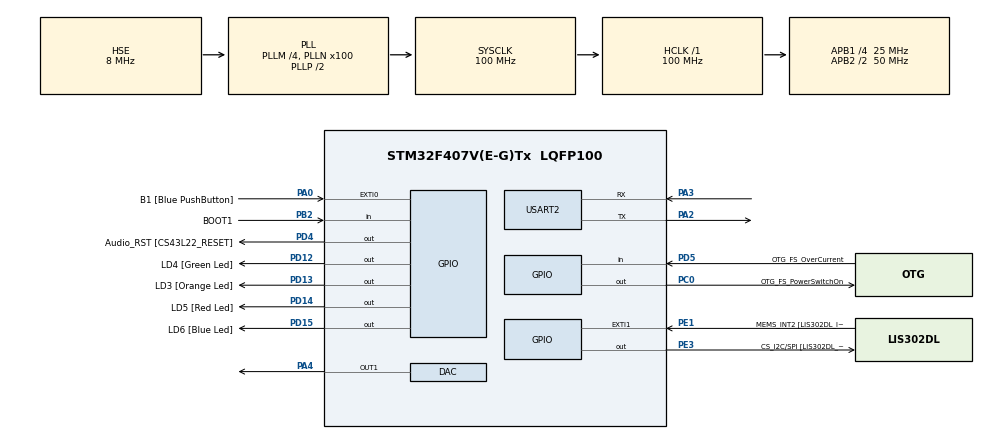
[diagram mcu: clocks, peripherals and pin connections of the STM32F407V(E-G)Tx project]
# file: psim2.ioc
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DAC.DAC_Trigger=DAC_TRIGGER_NONE
Mcu.Family=STM32F4
Mcu.Name=STM32F407V(E-G)Tx
Mcu.Package=LQFP100
NVIC.PriorityGroup=NVIC_PRIORITYGROUP_0
NVIC.TIM1_TRG_COM_TIM11_IRQn=true\:0\:0\:false\:false\:true
NVIC.TIM6_DAC_IRQn=true\:0\:0\:false\:false\:true
NVIC.USART2_IRQn=true\:0\:0\:false\:false\:true
PA0-WKUP.GPIO_Label=B1 [Blue PushButton]
PA0-WKUP.Signal=GPXTI0
PA10.GPIO_Label=OTG_FS_ID
PA10.GPIO_Mode=GPIO_MODE_AF_PP
PA10.GPIO_PuPd=GPIO_NOPULL
PA10.GPIO_Speed=GPIO_SPEED_FREQ_LOW
PA10.Signal=USB_OTG_FS_ID
PA11.GPIO_Label=OTG_FS_DM
PA11.GPIO_Mode=GPIO_MODE_AF_PP
PA11.GPIO_PuPd=GPIO_NOPULL
PA11.GPIO_Speed=GPIO_SPEED_FREQ_LOW
PA11.Signal=USB_OTG_FS_DM
PA12.GPIO_Label=OTG_FS_DP
PA12.GPIO_Mode=GPIO_MODE_AF_PP
PA12.GPIO_PuPd=GPIO_NOPULL
PA12.GPIO_Speed=GPIO_SPEED_FREQ_LOW
PA12.Signal=USB_OTG_FS_DP
PA13.GPIO_Label=SWDIO
PA13.Signal=SYS_JTMS-SWDIO
PA14.GPIO_Label=SWCLK
PA14.Signal=SYS_JTCK-SWCLK
PA2.Mode=Asynchronous
PA2.Signal=USART2_TX
PA3.Mode=Asynchronous
PA3.Signal=USART2_RX
PA4.Signal=COMP_DAC1_group
PA6.GPIO_Label=SPI1_MISO [LIS302DL_SDO]
PA6.GPIO_Mode=GPIO_MODE_AF_PP
PA6.GPIO_PuPd=GPIO_NOPULL
PA6.GPIO_Speed=GPIO_SPEED_FREQ_LOW
PA6.Signal=SPI1_MISO
PA7.GPIO_Label=SPI1_MOSI [LIS302DL_SDA/SDI/SDO]
PA7.GPIO_Mode=GPIO_MODE_AF_PP
PA7.GPIO_PuPd=GPIO_NOPULL
PA7.GPIO_Speed=GPIO_SPEED_FREQ_LOW
PA7.Signal=SPI1_MOSI
PA9.GPIO_Label=VBUS_FS
PA9.GPIO_Mode=GPIO_MODE_INPUT
PA9.GPIO_PuPd=GPIO_NOPULL
PA9.Signal=USB_OTG_FS_VBUS
PB10.GPIO_Label=CLK_IN [MP45DT02_CLK]
PB10.GPIO_Mode=GPIO_MODE_AF_PP
PB10.GPIO_PuPd=GPIO_NOPULL
PB10.GPIO_Speed=GPIO_SPEED_FREQ_LOW
PB10.Signal=I2S2_CK
PB2.GPIO_Label=BOOT1
PB2.GPIO_Mode=GPIO_MODE_INPUT
PB2.GPIO_PuPd=GPIO_NOPULL
PB2.Signal=GPIO_Input
PB3.GPIO_Label=SWO
PB3.Signal=SYS_JTDO-SWO
PB6.GPIO_Label=Audio_SCL [CS43L22_SCL]
PB6.GPIO_Mode=GPIO_MODE_AF_OD
PB6.GPIO_PuPd=GPIO_NOPULL
PB6.GPIO_Speed=GPIO_SPEED_FREQ_LOW
PB6.Signal=I2C1_SCL
PB9.GPIO_Label=Audio_SDA [CS43L22_SDA]
PB9.GPIO_Mode=GPIO_MODE_AF_OD
PB9.GPIO_PuPd=GPIO_NOPULL
PB9.GPIO_Speed=GPIO_SPEED_FREQ_LOW
PB9.Signal=I2C1_SDA
PC0.GPIO_Label=OTG_FS_PowerSwitchOn
PC0.GPIO_PuPd=GPIO_NOPULL
PC0.GPIO_Speed=GPIO_SPEED_FREQ_LOW
PC0.PinState=GPIO_PIN_SET
PC0.Signal=GPIO_Output
PC10.GPIO_Label=I2S3_SCK [CS43L22_SCLK]
PC10.GPIO_Mode=GPIO_MODE_AF_PP
PC10.GPIO_PuPd=GPIO_NOPULL
PC10.GPIO_Speed=GPIO_SPEED_FREQ_LOW
PC10.Signal=I2S3_CK
PC12.GPIO_Label=I2S3_SD [CS43L22_SDIN]
PC12.GPIO_Mode=GPIO_MODE_AF_PP
PC12.GPIO_PuPd=GPIO_NOPULL
PC12.GPIO_Speed=GPIO_SPEED_FREQ_LOW
PC12.Signal=I2S3_SD
PC14-OSC32_IN.GPIO_Label=PC14-OSC32_IN
PC14-OSC32_IN.Signal=RCC_OSC32_IN
PC15-OSC32_OUT.GPIO_Label=PC15-OSC32_OUT
PC15-OSC32_OUT.Signal=RCC_OSC32_OUT
PC3.GPIO_Label=PDM_OUT [MP45DT02_DOUT]
PC3.GPIO_Mode=GPIO_MODE_AF_PP
PC3.GPIO_PuPd=GPIO_NOPULL
PC3.GPIO_Speed=GPIO_SPEED_FREQ_LOW
PC3.Signal=I2S2_SD
PC7.GPIO_Label=I2S3_MCK [CS43L22_MCLK]
PC7.GPIO_Mode=GPIO_MODE_AF_PP
PC7.GPIO_PuPd=GPIO_NOPULL
PC7.GPIO_Speed=GPIO_SPEED_FREQ_LOW
PC7.Signal=I2S3_MCK
PD12.GPIO_Label=LD4 [Green Led]
PD12.GPIO_PuPd=GPIO_NOPULL
PD12.GPIO_Speed=GPIO_SPEED_FREQ_LOW
PD12.Signal=GPIO_Output
PD13.GPIO_Label=LD3 [Orange Led]
PD13.GPIO_PuPd=GPIO_NOPULL
PD13.GPIO_Speed=GPIO_SPEED_FREQ_LOW
PD13.Signal=GPIO_Output
PD14.GPIO_Label=LD5 [Red Led]
PD14.GPIO_PuPd=GPIO_NOPULL
PD14.GPIO_Speed=GPIO_SPEED_FREQ_LOW
PD14.Signal=GPIO_Output
PD15.GPIO_Label=LD6 [Blue Led]
PD15.GPIO_PuPd=GPIO_NOPULL
PD15.GPIO_Speed=GPIO_SPEED_FREQ_LOW
PD15.Signal=GPIO_Output
PD4.GPIO_Label=Audio_RST [CS43L22_RESET]
PD4.GPIO_PuPd=GPIO_NOPULL
PD4.GPIO_Speed=GPIO_SPEED_FREQ_LOW
PD4.Signal=GPIO_Output
PD5.GPIO_Label=OTG_FS_OverCurrent
PD5.GPIO_Mode=GPIO_MODE_INPUT
PD5.GPIO_PuPd=GPIO_NOPULL
PD5.Signal=GPIO_Input
PE1.GPIO_Label=MEMS_INT2 [LIS302DL_INT2]
PE1.GPIO_ModeDefaultEXTI=GPIO_MODE_EVT_RISING
PE1.GPIO_PuPd=GPIO_NOPULL
PE1.Signal=GPXTI1
PE3.GPIO_Label=CS_I2C/SPI [LIS302DL_CS_I2C/SPI]
PE3.GPIO_PuPd=GPIO_NOPULL
PE3.GPIO_Speed=GPIO_SPEED_FREQ_LOW
PE3.Signal=GPIO_Output
PH0-OSC_IN.GPIO_Label=PH0-OSC_IN
PH0-OSC_IN.Mode=HSE-External-Oscillator
PH0-OSC_IN.Signal=RCC_OSC_IN
PH1-OSC_OUT.GPIO_Label=PH1-OSC_OUT
PH1-OSC_OUT.Mode=HSE-External-Oscillator
PH1-OSC_OUT.Signal=RCC_OSC_OUT
ProjectManager.HeapSize=0x200
ProjectManager.StackSize=0x400
ProjectManager.TargetToolchain=SW4STM32
RCC.48MHZClocksFreq_Value=28571428.57142857
RCC.AHBFreq_Value=100000000
RCC.APB1CLKDivider=RCC_HCLK_DIV4
RCC.APB1Freq_Value=25000000
RCC.APB1TimFreq_Value=50000000
RCC.APB2CLKDivider=RCC_HCLK_DIV2
RCC.APB2Freq_Value=50000000
RCC.APB2TimFreq_Value=100000000
RCC.CortexFreq_Value=100000000
RCC.HCLKFreq_Value=100000000
RCC.HSE_VALUE=8000000
RCC.HSI_VALUE=16000000
RCC.LSE_VALUE=32768
RCC.PLLM=4
RCC.PLLN=100
RCC.PLLQ=7
RCC.PLLSourceVirtual=RCC_PLLSOURCE_HSE
RCC.SYSCLKFreq_VALUE=100000000
RCC.SYSCLKSource=RCC_SYSCLKSOURCE_PLLCLK
RCC.VCOOutputFreq_Value=200000000
SH.COMP_DAC1_group.0=DAC_OUT1,DAC_OUT1
TIM11.Channel=TIM_CHANNEL_1
TIM11.Period=9
TIM11.Prescaler=99
TIM6.Period=999
TIM6.Prescaler=9
USART2.VirtualMode=VM_ASYNC
VP_TIM11_VS_ClockSourceINT.Mode=Enable_Timer
VP_TIM11_VS_no_output1.Mode=Output Compare1 No Output
VP_TIM6_VS_ClockSourceINT.Mode=Enable_Timer
board=STM32F4DISCOVERY

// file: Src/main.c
/**
  ******************************************************************************
  * File Name          : main.c
  * Description        : Main program body
  ******************************************************************************
  ** This notice applies to any and all portions of this file
  * that are not between comment pairs USER CODE BEGIN and
  * USER CODE END. Other portions of this file, whether
  * inserted by the user or by software development tools
  * are owned by their respective copyright owners.
  *
  * COPYRIGHT(c) 2017 STMicroelectronics
  *
  * Redistribution and use in source and binary forms, with or without modification,
  * are permitted provided that the following conditions are met:
  *   1. Redistributions of source code must retain the above copyright notice,
  *      this list of conditions and the following disclaimer.
  *   2. Redistributions in binary form must reproduce the above copyright notice,
  *      this list of conditions and the following disclaimer in the documentation
  *      and/or other materials provided with the distribution.
  *   3. Neither the name of STMicroelectronics nor the names of its contributors
  *      may be used to endorse or promote products derived from this software
  *      without specific prior written permission.
  *
  * THIS SOFTWARE IS PROVIDED BY THE COPYRIGHT HOLDERS AND CONTRIBUTORS "AS IS"
  * AND ANY EXPRESS OR IMPLIED WARRANTIES, INCLUDING, BUT NOT LIMITED TO, THE
  * IMPLIED WARRANTIES OF MERCHANTABILITY AND FITNESS FOR A PARTICULAR PURPOSE ARE
  * DISCLAIMED. IN NO EVENT SHALL THE COPYRIGHT HOLDER OR CONTRIBUTORS BE LIABLE
  * FOR ANY DIRECT, INDIRECT, INCIDENTAL, SPECIAL, EXEMPLARY, OR CONSEQUENTIAL
  * DAMAGES (INCLUDING, BUT NOT LIMITED TO, PROCUREMENT OF SUBSTITUTE GOODS OR
  * SERVICES; LOSS OF USE, DATA, OR PROFITS; OR BUSINESS INTERRUPTION) HOWEVER
  * CAUSED AND ON ANY THEORY OF LIABILITY, WHETHER IN CONTRACT, STRICT LIABILITY,
  * OR TORT (INCLUDING NEGLIGENCE OR OTHERWISE) ARISING IN ANY WAY OUT OF THE USE
  * OF THIS SOFTWARE, EVEN IF ADVISED OF THE POSSIBILITY OF SUCH DAMAGE.
  *
  ******************************************************************************
  */
#include "main.h"
#include "stm32f4xx_hal.h"

/* USER CODE BEGIN Includes */
#include "stdlib.h"

#define ReceivedTabSize 2000
/* USER CODE END Includes */

DAC_HandleTypeDef hdac;

TIM_HandleTypeDef htim6;
TIM_HandleTypeDef htim11;

UART_HandleTypeDef huart2;

/* USER CODE BEGIN PV */
/* Private variables ---------------------------------------------------------*/
volatile int MAX = 0;
const float tp = 0.00001;

volatile int *freqTab = NULL;
volatile int *ampTab = NULL;
volatile int *phaseTab = NULL;
volatile int *freqTabRT = NULL;
volatile int *ampTabRT = NULL;
volatile int *phaseTabRT = NULL;
volatile int *freqTabTemp = NULL;
volatile int *ampTabTemp = NULL;
volatile int *phaseTabTemp = NULL;

volatile float out = 0;
volatile int licznik;

int r_size = 1;
volatile int output = 0;
volatile float cos;
volatile float wsp_a;
volatile float wsp_b;

volatile int vv;
volatile int bb;
volatile int aa;

int blad=0;

volatile int freq = 0;
volatile int Received;
volatile int ReceivedTab[ReceivedTabSize];

const float cosTable[360] = {
  -0.999847695156391270f, -0.999390827019095760f, -0.998629534754573830f,
  -0.997564050259824200f, -0.996194698091745550f, -0.994521895368273290f,
  -0.992546151641321980f, -0.990268068741570250f,
  -0.987688340595137660f, -0.984807753012208020f, -0.981627183447663980f,
  -0.978147600733805690f, -0.974370064785235250f, -0.970295726275996470f,
  -0.965925826289068200f, -0.961261695938318670f,
  -0.956304755963035440f, -0.951056516295153530f, -0.945518575599316740f,
  -0.939692620785908320f, -0.933580426497201740f, -0.927183854566787310f,
  -0.920504853452440150f, -0.913545457642600760f,
  -0.906307787036649940f, -0.898794046299167040f, -0.891006524188367790f,
  -0.882947592858926770f, -0.874619707139395740f, -0.866025403784438710f,
  -0.857167300702112220f, -0.848048096156425960f,
  -0.838670567945424160f, -0.829037572555041620f, -0.819152044288991580f,
  -0.809016994374947340f, -0.798635510047292940f, -0.788010753606721900f,
  -0.777145961456970680f, -0.766044443118977900f,
  -0.754709580222772010f, -0.743144825477394130f, -0.731353701619170460f,
  -0.719339800338651300f, -0.707106781186547460f, -0.694658370458997030f,
  -0.681998360062498370f, -0.669130606358858240f,
  -0.656059028990507500f, -0.642787609686539360f, -0.629320391049837280f,
  -0.615661475325658290f, -0.601815023152048380f, -0.587785252292473030f,
  -0.573576436351045830f, -0.559192903470746680f,
  -0.544639035015027080f, -0.529919264233204790f, -0.515038074910054270f,
  -0.499999999999999780f, -0.484809620246337000f, -0.469471562785890530f,
  -0.453990499739546750f, -0.438371146789077510f,
  -0.422618261740699330f, -0.406736643075800100f, -0.390731128489273600f,
  -0.374606593415912070f, -0.358367949545300270f, -0.342020143325668710f,
  -0.325568154457156420f, -0.309016994374947340f,
  -0.292371704722736660f, -0.275637355816999050f, -0.258819045102520850f,
  -0.241921895599667790f, -0.224951054343864810f, -0.207911690817759120f,
  -0.190808995376544800f, -0.173648177666930300f,
  -0.156434465040231040f, -0.139173100960065350f, -0.121869343405147370f,
  -0.104528463267653330f, -0.087155742747658235f, -0.069756473744125330f,
  -0.052335956242943620f, -0.034899496702500733f,
  -0.017452406437283477f, 0.000000000000000061f, 0.017452406437283376f,
  0.034899496702501080f, 0.052335956242943966f, 0.069756473744125455f,
  0.087155742747658138f, 0.104528463267653460f,
  0.121869343405147490f, 0.139173100960065690f, 0.156434465040230920f,
  0.173648177666930410f, 0.190808995376544920f, 0.207911690817759450f,
  0.224951054343864920f, 0.241921895599667900f,
  0.258819045102520740f, 0.275637355816999160f, 0.292371704722736770f,
  0.309016994374947450f, 0.325568154457156760f, 0.342020143325668820f,
  0.358367949545300380f, 0.374606593415911960f,
  0.390731128489273940f, 0.406736643075800210f, 0.422618261740699440f,
  0.438371146789077460f, 0.453990499739546860f, 0.469471562785890860f,
  0.484809620246337110f, 0.500000000000000110f,
  0.515038074910054380f, 0.529919264233204900f, 0.544639035015027200f,
  0.559192903470746790f, 0.573576436351046050f, 0.587785252292473140f,
  0.601815023152048270f, 0.615661475325658290f,
  0.629320391049837500f, 0.642787609686539360f, 0.656059028990507280f,
  0.669130606358858240f, 0.681998360062498480f, 0.694658370458997370f,
  0.707106781186547570f, 0.719339800338651190f,
  0.731353701619170570f, 0.743144825477394240f, 0.754709580222772010f,
  0.766044443118978010f, 0.777145961456970900f, 0.788010753606722010f,
  0.798635510047292830f, 0.809016994374947450f,
  0.819152044288991800f, 0.829037572555041620f, 0.838670567945424050f,
  0.848048096156425960f, 0.857167300702112330f, 0.866025403784438710f,
  0.874619707139395740f, 0.882947592858926990f,
  0.891006524188367900f, 0.898794046299167040f, 0.906307787036649940f,
  0.913545457642600870f, 0.920504853452440370f, 0.927183854566787420f,
  0.933580426497201740f, 0.939692620785908430f,
  0.945518575599316850f, 0.951056516295153530f, 0.956304755963035440f,
  0.961261695938318890f, 0.965925826289068310f, 0.970295726275996470f,
  0.974370064785235250f, 0.978147600733805690f,
  0.981627183447663980f, 0.984807753012208020f, 0.987688340595137770f,
  0.990268068741570360f, 0.992546151641321980f, 0.994521895368273290f,
  0.996194698091745550f, 0.997564050259824200f,
  0.998629534754573830f, 0.999390827019095760f, 0.999847695156391270f,
  1.000000000000000000f, 0.999847695156391270f, 0.999390827019095760f,
  0.998629534754573830f, 0.997564050259824200f,
  0.996194698091745550f, 0.994521895368273290f, 0.992546151641321980f,
  0.990268068741570360f, 0.987688340595137770f, 0.984807753012208020f,
  0.981627183447663980f, 0.978147600733805690f,
  0.974370064785235250f, 0.970295726275996470f, 0.965925826289068310f,
  0.961261695938318890f, 0.956304755963035440f, 0.951056516295153530f,
  0.945518575599316850f, 0.939692620785908430f,
  0.933580426497201740f, 0.927183854566787420f, 0.920504853452440370f,
  0.913545457642600870f, 0.906307787036649940f, 0.898794046299167040f,
  0.891006524188367900f, 0.882947592858926990f,
  0.874619707139395740f, 0.866025403784438710f, 0.857167300702112330f,
  0.848048096156425960f, 0.838670567945424050f, 0.829037572555041620f,
  0.819152044288991800f, 0.809016994374947450f,
  0.798635510047292830f, 0.788010753606722010f, 0.777145961456970900f,
  0.766044443118978010f, 0.754709580222772010f, 0.743144825477394240f,
  0.731353701619170570f, 0.719339800338651190f,
  0.707106781186547570f, 0.694658370458997370f, 0.681998360062498480f,
  0.669130606358858240f, 0.656059028990507280f, 0.642787609686539360f,
  0.629320391049837500f, 0.615661475325658290f,
  0.601815023152048270f, 0.587785252292473140f, 0.573576436351046050f,
  0.559192903470746790f, 0.544639035015027200f, 0.529919264233204900f,
  0.515038074910054380f, 0.500000000000000110f,
  0.484809620246337110f, 0.469471562785890860f, 0.453990499739546860f,
  0.438371146789077460f, 0.422618261740699440f, 0.406736643075800210f,
  0.390731128489273940f, 0.374606593415911960f,
  0.358367949545300380f, 0.342020143325668820f, 0.325568154457156760f,
  0.309016994374947450f, 0.292371704722736770f, 0.275637355816999160f,
  0.258819045102520740f, 0.241921895599667900f,
  0.224951054343864920f, 0.207911690817759450f, 0.190808995376544920f,
  0.173648177666930410f, 0.156434465040230920f, 0.139173100960065690f,
  0.121869343405147490f, 0.104528463267653460f,
  0.087155742747658138f, 0.069756473744125455f, 0.052335956242943966f,
  0.034899496702501080f, 0.017452406437283376f, 0.000000000000000061f,
  -0.017452406437283477f, -0.034899496702500733f,
  -0.052335956242943620f, -0.069756473744125330f, -0.087155742747658235f,
  -0.104528463267653330f, -0.121869343405147370f, -0.139173100960065350f,
  -0.156434465040231040f, -0.173648177666930300f,
  -0.190808995376544800f, -0.207911690817759120f, -0.224951054343864810f,
  -0.241921895599667790f, -0.258819045102520850f, -0.275637355816999050f,
  -0.292371704722736660f, -0.309016994374947340f,
  -0.325568154457156420f, -0.342020143325668710f, -0.358367949545300270f,
  -0.374606593415912070f, -0.390731128489273600f, -0.406736643075800100f,
  -0.422618261740699330f, -0.438371146789077510f,
  -0.453990499739546750f, -0.469471562785890530f, -0.484809620246337000f,
  -0.499999999999999780f, -0.515038074910054270f, -0.529919264233204790f,
  -0.544639035015027080f, -0.559192903470746680f,
  -0.573576436351045830f, -0.587785252292473030f, -0.601815023152048380f,
  -0.615661475325658290f, -0.629320391049837280f, -0.642787609686539360f,
  -0.656059028990507500f, -0.669130606358858240f,
  -0.681998360062498370f, -0.694658370458997030f, -0.707106781186547460f,
  -0.719339800338651300f, -0.731353701619170460f, -0.743144825477394130f,
  -0.754709580222772010f, -0.766044443118977900f,
  -0.777145961456970680f, -0.788010753606721900f, -0.798635510047292940f,
  -0.809016994374947340f, -0.819152044288991580f, -0.829037572555041620f,
  -0.838670567945424160f, -0.848048096156425960f,
  -0.857167300702112220f, -0.866025403784438710f, -0.874619707139395740f,
  -0.882947592858926770f, -0.891006524188367790f, -0.898794046299167040f,
  -0.906307787036649940f, -0.913545457642600760f,
  -0.920504853452440150f, -0.927183854566787310f, -0.933580426497201740f,
  -0.939692620785908320f, -0.945518575599316740f, -0.951056516295153530f,
  -0.956304755963035440f, -0.961261695938318670f,
  -0.965925826289068200f, -0.970295726275996470f, -0.974370064785235250f,
  -0.978147600733805690f, -0.981627183447663980f, -0.984807753012208020f,
  -0.987688340595137660f, -0.990268068741570250f,
  -0.992546151641321980f, -0.994521895368273290f, -0.996194698091745550f,
  -0.997564050259824200f, -0.998629534754573830f, -0.999390827019095760f,
  -0.999847695156391270f, -1.000000000000000000f
};

inline float cosApproximation(float v)
{
	float value = 0;

	uint16_t a = ((int) v) % 360;
	uint16_t b = (a + 1) % 360;

	float cos_a = cosTable[a];
	float cos_b = cosTable[b];
	wsp_a = cos_b - cos_a;
//	float wsp_a = cos_b - cos_a;
//	float wsp_b = cos_a - wsp_a * a;
	wsp_b = cos_a - wsp_a * a;

	value = wsp_a * (v - (int)(v) + a) + wsp_b;

		aa = a;
		bb = b;

	return value;
}

/* USER CODE END PV */

void SystemClock_Config(void);
static void MX_GPIO_Init(void);
static void MX_USART2_UART_Init(void);
static void MX_TIM11_Init(void);
static void MX_DAC_Init(void);
static void MX_TIM6_Init(void);

/* USER CODE BEGIN PFP */
/* Private function prototypes -----------------------------------------------*/

/* USER CODE END PFP */

/* USER CODE BEGIN 0 */

void HAL_TIM_PeriodElapsedCallback(TIM_HandleTypeDef *htim)
{
	static long long int t = 0;
	int index = 0;
	float v;

	 if(htim->Instance == TIM11){

		 HAL_DAC_SetValue(&hdac,DAC_CHANNEL_1,DAC_ALIGN_12B_R,output);
//		 if(sample_iter == -1)
//		 {
//			 return;
//		 }
		 out = 0;
		 t=t+1;
		 for (int ii=0;ii<MAX;ii++)
		 {
			 v = 360 * tp * freqTab[ii]*t + 180 - phaseTab[ii];
			 cos = cosApproximation(v);
//			 cos = cosTable[((int) v) % 360];
			 out = out + ampTab[ii]*cos;
		 }

	 // skalowanie amplitudy -50 do 50 na od 0 do 4095
	 output = (int)(out*40.96 + 2048);
	 }
}

int power(int a)
{
	int wynik = 1;
	for (int i=0;i<a;i++)
		wynik *= 10;
	return wynik;
}

void HAL_UART_RxCpltCallback(UART_HandleTypeDef *huart) {

	static int i=0;
	volatile static int sample_iter = -1;
	static int liczbaProbek = -1;
	volatile static int idTab = 0;
	uint8_t data[50];
	uint16_t size = 0;

	//HAL_GPIO_TogglePin(GPIOA, GPIO_PIN_6);

	if(Received == 9 || i==ReceivedTabSize) // zatwierdzenie liczby TABem
	{
		volatile int recNumber = 0;
		for (int k = 0;k < i;k++)
		{
			recNumber += power(i-k-1) * ReceivedTab[k];
		}
		i = 0;

		if(sample_iter == -1)
		{
			size = sprintf(data, "lp:\t %u \n\r", recNumber);
			HAL_UART_Transmit_IT(&huart2, data, size);
			liczbaProbek = recNumber;
			MAX = liczbaProbek;
			sample_iter = 0;
		}
		else
		{
//			size = sprintf(data, "echoProbki:\t %u \n\r", recNumber);
//			HAL_UART_Transmit_IT(&huart2, data, size);
			if(sample_iter%3 == 0) // freq
			{
				freqTabRT[idTab] =  recNumber;
				freq = recNumber;
			}
			else if(sample_iter%3 == 1) // amp
			{
				ampTabRT[idTab] = recNumber;
			}
			else if(sample_iter%3 == 2) // phase
			{
				phaseTabRT[idTab] = recNumber;
				idTab++;
			}
			sample_iter += 1;
			size = sprintf(data, "sampleIter:\t %d \n\r", sample_iter);
			HAL_UART_Transmit_IT(&huart2, data, size);
		}
		if(idTab == liczbaProbek)
		{
			freqTabTemp = freqTab;
			ampTabTemp = ampTab;
			phaseTabTemp = phaseTab;

			freqTab = freqTabRT;
			ampTab = ampTabRT;
			phaseTab = phaseTabRT;

			freqTabRT = freqTabTemp;
			ampTabRT = ampTabTemp;
			phaseTabRT = phaseTabTemp;

 			size = sprintf(data, "koniec \n\r");
			HAL_UART_Transmit_IT(&huart2, data, size);
			sample_iter = -1;
			idTab = 0;
		}

	}
	else
	{
			ReceivedTab[i] = atoi(&Received);
			vv = atoi(&Received);
			i++;
	}

	 HAL_UART_Receive_IT(&huart2, &Received, r_size);
}
/* USER CODE END 0 */

int main(void)
{

  /* MCU Configuration----------------------------------------------------------*/

  /* Reset of all peripherals, Initializes the Flash interface and the Systick. */
  HAL_Init();

  /* Configure the system clock */
  SystemClock_Config();

  /* Initialize all configured peripherals */
  MX_GPIO_Init();
  MX_USART2_UART_Init();
  MX_TIM11_Init();
  MX_DAC_Init();
  MX_TIM6_Init();

  /* USER CODE BEGIN 2 */

  HAL_TIM_Base_Start_IT(&htim11);
  HAL_TIM_Base_Start_IT(&htim6);
  HAL_DAC_Start(&hdac,DAC_CHANNEL_1);
  HAL_UART_Receive_IT(&huart2, &Received, r_size);

  freqTab = (int*) calloc (100, sizeof(int));
  ampTab = (int *) calloc (100, sizeof(int));
  phaseTab = (int *) calloc (100, sizeof(int));
  freqTabRT = (int *) calloc (100, sizeof(int));
  ampTabRT = (int *) calloc (100, sizeof(int));
  phaseTabRT = (int *) calloc (100, sizeof(int));

  uint8_t data[50];
	uint16_t size = 0;
	if(freqTab == NULL || ampTab == NULL || phaseTab == NULL) {
		blad = 1;
	}
	if(freqTabRT == NULL || ampTabRT == NULL || phaseTabRT == NULL) {
			blad = 2;
	}
  /* USER CODE END 2 */

  /* Infinite loop */
  while (1)
  {

 }

}

/** System Clock Configuration
*/
void SystemClock_Config(void)
{

  RCC_OscInitTypeDef RCC_OscInitStruct;
  RCC_ClkInitTypeDef RCC_ClkInitStruct;

    /**Configure the main internal regulator output voltage
    */
  __HAL_RCC_PWR_CLK_ENABLE();

  __HAL_PWR_VOLTAGESCALING_CONFIG(PWR_REGULATOR_VOLTAGE_SCALE1);

    /**Initializes the CPU, AHB and APB busses clocks
    */
  RCC_OscInitStruct.OscillatorType = RCC_OSCILLATORTYPE_HSE;
  RCC_OscInitStruct.HSEState = RCC_HSE_ON;
  RCC_OscInitStruct.PLL.PLLState = RCC_PLL_ON;
  RCC_OscInitStruct.PLL.PLLSource = RCC_PLLSOURCE_HSE;
  RCC_OscInitStruct.PLL.PLLM = 4;
  RCC_OscInitStruct.PLL.PLLN = 100;
  RCC_OscInitStruct.PLL.PLLP = RCC_PLLP_DIV2;
  RCC_OscInitStruct.PLL.PLLQ = 7;
  if (HAL_RCC_OscConfig(&RCC_OscInitStruct) != HAL_OK)
  {
    _Error_Handler(__FILE__, __LINE__);
  }

    /**Initializes the CPU, AHB and APB busses clocks
    */
  RCC_ClkInitStruct.ClockType = RCC_CLOCKTYPE_HCLK|RCC_CLOCKTYPE_SYSCLK
                              |RCC_CLOCKTYPE_PCLK1|RCC_CLOCKTYPE_PCLK2;
  RCC_ClkInitStruct.SYSCLKSource = RCC_SYSCLKSOURCE_PLLCLK;
  RCC_ClkInitStruct.AHBCLKDivider = RCC_SYSCLK_DIV1;
  RCC_ClkInitStruct.APB1CLKDivider = RCC_HCLK_DIV4;
  RCC_ClkInitStruct.APB2CLKDivider = RCC_HCLK_DIV2;

  if (HAL_RCC_ClockConfig(&RCC_ClkInitStruct, FLASH_LATENCY_3) != HAL_OK)
  {
    _Error_Handler(__FILE__, __LINE__);
  }

    /**Configure the Systick interrupt time
    */
  HAL_SYSTICK_Config(HAL_RCC_GetHCLKFreq()/1000);

    /**Configure the Systick
    */
  HAL_SYSTICK_CLKSourceConfig(SYSTICK_CLKSOURCE_HCLK);

  /* SysTick_IRQn interrupt configuration */
  HAL_NVIC_SetPriority(SysTick_IRQn, 0, 0);
}

/* DAC init function */
static void MX_DAC_Init(void)
{

  DAC_ChannelConfTypeDef sConfig;

    /**DAC Initialization
    */
  hdac.Instance = DAC;
  if (HAL_DAC_Init(&hdac) != HAL_OK)
  {
    _Error_Handler(__FILE__, __LINE__);
  }

    /**DAC channel OUT1 config
    */
  sConfig.DAC_Trigger = DAC_TRIGGER_NONE;
  sConfig.DAC_OutputBuffer = DAC_OUTPUTBUFFER_ENABLE;
  if (HAL_DAC_ConfigChannel(&hdac, &sConfig, DAC_CHANNEL_1) != HAL_OK)
  {
    _Error_Handler(__FILE__, __LINE__);
  }

}

/* TIM6 init function */
static void MX_TIM6_Init(void)
{

  TIM_MasterConfigTypeDef sMasterConfig;

  htim6.Instance = TIM6;
  htim6.Init.Prescaler = 9;
  htim6.Init.CounterMode = TIM_COUNTERMODE_UP;
  htim6.Init.Period = 999;
  if (HAL_TIM_Base_Init(&htim6) != HAL_OK)
  {
    _Error_Handler(__FILE__, __LINE__);
  }

  sMasterConfig.MasterOutputTrigger = TIM_TRGO_RESET;
  sMasterConfig.MasterSlaveMode = TIM_MASTERSLAVEMODE_DISABLE;
  if (HAL_TIMEx_MasterConfigSynchronization(&htim6, &sMasterConfig) != HAL_OK)
  {
    _Error_Handler(__FILE__, __LINE__);
  }

}

/* TIM11 init function */
static void MX_TIM11_Init(void)
{

  TIM_OC_InitTypeDef sConfigOC;

  htim11.Instance = TIM11;
  htim11.Init.Prescaler = 99;
  htim11.Init.CounterMode = TIM_COUNTERMODE_UP;
  htim11.Init.Period = 9;
  htim11.Init.ClockDivision = TIM_CLOCKDIVISION_DIV1;
  if (HAL_TIM_Base_Init(&htim11) != HAL_OK)
  {
    _Error_Handler(__FILE__, __LINE__);
  }

  if (HAL_TIM_OC_Init(&htim11) != HAL_OK)
  {
    _Error_Handler(__FILE__, __LINE__);
  }

  sConfigOC.OCMode = TIM_OCMODE_TIMING;
  sConfigOC.Pulse = 0;
  sConfigOC.OCPolarity = TIM_OCPOLARITY_HIGH;
  sConfigOC.OCFastMode = TIM_OCFAST_DISABLE;
  if (HAL_TIM_OC_ConfigChannel(&htim11, &sConfigOC, TIM_CHANNEL_1) != HAL_OK)
  {
    _Error_Handler(__FILE__, __LINE__);
  }

}

/* USART2 init function */
static void MX_USART2_UART_Init(void)
{

  huart2.Instance = USART2;
  huart2.Init.BaudRate = 115200;
  huart2.Init.WordLength = UART_WORDLENGTH_8B;
  huart2.Init.StopBits = UART_STOPBITS_1;
  huart2.Init.Parity = UART_PARITY_NONE;
  huart2.Init.Mode = UART_MODE_TX_RX;
  huart2.Init.HwFlowCtl = UART_HWCONTROL_NONE;
  huart2.Init.OverSampling = UART_OVERSAMPLING_16;
  if (HAL_UART_Init(&huart2) != HAL_OK)
  {
    _Error_Handler(__FILE__, __LINE__);
  }

}

/** Configure pins as
        * Analog
        * Input
        * Output
        * EVENT_OUT
        * EXTI
     PC3   ------> I2S2_SD
     PA6   ------> SPI1_MISO
     PA7   ------> SPI1_MOSI
     PB10   ------> I2S2_CK
     PC7   ------> I2S3_MCK
     PA9   ------> USB_OTG_FS_VBUS
     PA10   ------> USB_OTG_FS_ID
     PA11   ------> USB_OTG_FS_DM
     PA12   ------> USB_OTG_FS_DP
     PC10   ------> I2S3_CK
     PC12   ------> I2S3_SD
     PB6   ------> I2C1_SCL
     PB9   ------> I2C1_SDA
*/
static void MX_GPIO_Init(void)
{

  GPIO_InitTypeDef GPIO_InitStruct;

  /* GPIO Ports Clock Enable */
  __HAL_RCC_GPIOE_CLK_ENABLE();
  __HAL_RCC_GPIOC_CLK_ENABLE();
  __HAL_RCC_GPIOH_CLK_ENABLE();
  __HAL_RCC_GPIOA_CLK_ENABLE();
  __HAL_RCC_GPIOB_CLK_ENABLE();
  __HAL_RCC_GPIOD_CLK_ENABLE();

  /*Configure GPIO pin Output Level */
  HAL_GPIO_WritePin(CS_I2C_SPI_GPIO_Port, CS_I2C_SPI_Pin, GPIO_PIN_RESET);

  /*Configure GPIO pin Output Level */
  HAL_GPIO_WritePin(OTG_FS_PowerSwitchOn_GPIO_Port, OTG_FS_PowerSwitchOn_Pin, GPIO_PIN_SET);

  /*Configure GPIO pin Output Level */
  HAL_GPIO_WritePin(GPIOD, LD4_Pin|LD3_Pin|LD5_Pin|LD6_Pin
                          |Audio_RST_Pin, GPIO_PIN_RESET);

  /*Configure GPIO pin : CS_I2C_SPI_Pin */
  GPIO_InitStruct.Pin = CS_I2C_SPI_Pin;
  GPIO_InitStruct.Mode = GPIO_MODE_OUTPUT_PP;
  GPIO_InitStruct.Pull = GPIO_NOPULL;
  GPIO_InitStruct.Speed = GPIO_SPEED_FREQ_LOW;
  HAL_GPIO_Init(CS_I2C_SPI_GPIO_Port, &GPIO_InitStruct);

  /*Configure GPIO pin : OTG_FS_PowerSwitchOn_Pin */
  GPIO_InitStruct.Pin = OTG_FS_PowerSwitchOn_Pin;
  GPIO_InitStruct.Mode = GPIO_MODE_OUTPUT_PP;
  GPIO_InitStruct.Pull = GPIO_NOPULL;
  GPIO_InitStruct.Speed = GPIO_SPEED_FREQ_LOW;
  HAL_GPIO_Init(OTG_FS_PowerSwitchOn_GPIO_Port, &GPIO_InitStruct);

  /*Configure GPIO pin : PDM_OUT_Pin */
  GPIO_InitStruct.Pin = PDM_OUT_Pin;
  GPIO_InitStruct.Mode = GPIO_MODE_AF_PP;
  GPIO_InitStruct.Pull = GPIO_NOPULL;
  GPIO_InitStruct.Speed = GPIO_SPEED_FREQ_LOW;
  GPIO_InitStruct.Alternate = GPIO_AF5_SPI2;
  HAL_GPIO_Init(PDM_OUT_GPIO_Port, &GPIO_InitStruct);

  /*Configure GPIO pin : B1_Pin */
  GPIO_InitStruct.Pin = B1_Pin;
  GPIO_InitStruct.Mode = GPIO_MODE_IT_RISING;
  GPIO_InitStruct.Pull = GPIO_NOPULL;
  HAL_GPIO_Init(B1_GPIO_Port, &GPIO_InitStruct);

  /*Configure GPIO pins : SPI1_MISO_Pin SPI1_MOSI_Pin */
  GPIO_InitStruct.Pin = SPI1_MISO_Pin|SPI1_MOSI_Pin;
  GPIO_InitStruct.Mode = GPIO_MODE_AF_PP;
  GPIO_InitStruct.Pull = GPIO_NOPULL;
  GPIO_InitStruct.Speed = GPIO_SPEED_FREQ_LOW;
  GPIO_InitStruct.Alternate = GPIO_AF5_SPI1;
  HAL_GPIO_Init(GPIOA, &GPIO_InitStruct);

  /*Configure GPIO pin : BOOT1_Pin */
  GPIO_InitStruct.Pin = BOOT1_Pin;
  GPIO_InitStruct.Mode = GPIO_MODE_INPUT;
  GPIO_InitStruct.Pull = GPIO_NOPULL;
  HAL_GPIO_Init(BOOT1_GPIO_Port, &GPIO_InitStruct);

  /*Configure GPIO pin : CLK_IN_Pin */
  GPIO_InitStruct.Pin = CLK_IN_Pin;
  GPIO_InitStruct.Mode = GPIO_MODE_AF_PP;
  GPIO_InitStruct.Pull = GPIO_NOPULL;
  GPIO_InitStruct.Speed = GPIO_SPEED_FREQ_LOW;
  GPIO_InitStruct.Alternate = GPIO_AF5_SPI2;
  HAL_GPIO_Init(CLK_IN_GPIO_Port, &GPIO_InitStruct);

  /*Configure GPIO pins : LD4_Pin LD3_Pin LD5_Pin LD6_Pin
                           Audio_RST_Pin */
  GPIO_InitStruct.Pin = LD4_Pin|LD3_Pin|LD5_Pin|LD6_Pin
                          |Audio_RST_Pin;
  GPIO_InitStruct.Mode = GPIO_MODE_OUTPUT_PP;
  GPIO_InitStruct.Pull = GPIO_NOPULL;
  GPIO_InitStruct.Speed = GPIO_SPEED_FREQ_LOW;
  HAL_GPIO_Init(GPIOD, &GPIO_InitStruct);

  /*Configure GPIO pins : I2S3_MCK_Pin I2S3_SCK_Pin I2S3_SD_Pin */
  GPIO_InitStruct.Pin = I2S3_MCK_Pin|I2S3_SCK_Pin|I2S3_SD_Pin;
  GPIO_InitStruct.Mode = GPIO_MODE_AF_PP;
  GPIO_InitStruct.Pull = GPIO_NOPULL;
  GPIO_InitStruct.Speed = GPIO_SPEED_FREQ_LOW;
  GPIO_InitStruct.Alternate = GPIO_AF6_SPI3;
  HAL_GPIO_Init(GPIOC, &GPIO_InitStruct);

  /*Configure GPIO pin : VBUS_FS_Pin */
  GPIO_InitStruct.Pin = VBUS_FS_Pin;
  GPIO_InitStruct.Mode = GPIO_MODE_INPUT;
  GPIO_InitStruct.Pull = GPIO_NOPULL;
  HAL_GPIO_Init(VBUS_FS_GPIO_Port, &GPIO_InitStruct);

  /*Configure GPIO pins : OTG_FS_ID_Pin OTG_FS_DM_Pin OTG_FS_DP_Pin */
  GPIO_InitStruct.Pin = OTG_FS_ID_Pin|OTG_FS_DM_Pin|OTG_FS_DP_Pin;
  GPIO_InitStruct.Mode = GPIO_MODE_AF_PP;
  GPIO_InitStruct.Pull = GPIO_NOPULL;
  GPIO_InitStruct.Speed = GPIO_SPEED_FREQ_LOW;
  GPIO_InitStruct.Alternate = GPIO_AF10_OTG_FS;
  HAL_GPIO_Init(GPIOA, &GPIO_InitStruct);

  /*Configure GPIO pin : OTG_FS_OverCurrent_Pin */
  GPIO_InitStruct.Pin = OTG_FS_OverCurrent_Pin;
  GPIO_InitStruct.Mode = GPIO_MODE_INPUT;
  GPIO_InitStruct.Pull = GPIO_NOPULL;
  HAL_GPIO_Init(OTG_FS_OverCurrent_GPIO_Port, &GPIO_InitStruct);

  /*Configure GPIO pins : Audio_SCL_Pin Audio_SDA_Pin */
  GPIO_InitStruct.Pin = Audio_SCL_Pin|Audio_SDA_Pin;
  GPIO_InitStruct.Mode = GPIO_MODE_AF_OD;
  GPIO_InitStruct.Pull = GPIO_PULLUP;
  GPIO_InitStruct.Speed = GPIO_SPEED_FREQ_LOW;
  GPIO_InitStruct.Alternate = GPIO_AF4_I2C1;
  HAL_GPIO_Init(GPIOB, &GPIO_InitStruct);

  /*Configure GPIO pin : MEMS_INT2_Pin */
  GPIO_InitStruct.Pin = MEMS_INT2_Pin;
  GPIO_InitStruct.Mode = GPIO_MODE_EVT_RISING;
  GPIO_InitStruct.Pull = GPIO_NOPULL;
  HAL_GPIO_Init(MEMS_INT2_GPIO_Port, &GPIO_InitStruct);

}

void _Error_Handler(char * file, int line)
{
  while(1)
  {
  }
}

/************************ (C) COPYRIGHT STMicroelectronics *****END OF FILE****/
